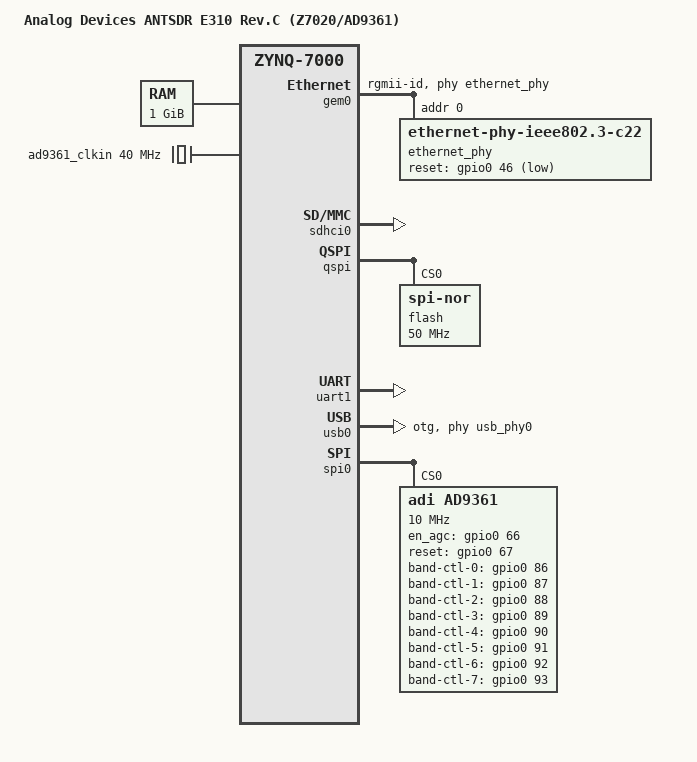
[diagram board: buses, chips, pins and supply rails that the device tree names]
// SPDX-License-Identifier: GPL-2.0
/*
 * Device Tree for the ANTSDR E310 (Analog Devices ANTSDR E310 clone)
 *
 *   Xilinx Zynq-7020 (XC7Z020, dual Cortex-A9, armhf) + AD9361 RF.
 *
 * WHICH TREE ACTUALLY RUNS.  Both E310s take their runtime DT from U-Boot's
 * control FDT in NOR (fdtcontroladdr), i.e. from
 * u-boot: arch/arm/dts/zynq-e310.dts -- NOT from this file.  A change here
 * reaches a board only via a NOR reflash of that FDT.  This file is still the
 * record and is what anyone building from the kernel tree gets, so the two are
 * kept reconciled property-for-property; the only deliberate divergence is
 * U-Boot's bootph-all tags (a pre-relocation/fdtgrep concern with no meaning in
 * Linux) and the two projects' differing copies of zynq-7000.dtsi.
 *
 * Board wiring mirrored from the confirmed-working mainline-U-Boot control
 * DT (u-boot: arch/arm/dts/zynq-e310.dts): 1 GB DDR, UART1 console, QSPI
 * (W25Q256), SD (broken-cd), and direct-MIO RGMII ethernet to a Marvell
 * 88E1510 PHY at MDIO addr 0 with its RESET_N on MIO46 (active-low).
 *
 * Kernel bindings/labels taken from arch/arm/boot/dts/xilinx/zynq-7000.dtsi
 * (gem0 @e000b000, sdhci0 @e0100000, qspi @e000d000, uart1 @e0001000,
 * spi0 @e0006000, gpio0 @e000a000).
 *
 * AD9361 RF path: this base DTB carries only the PL-INDEPENDENT half -- the
 * ad9361-phy SPI node (PS SPI0), its 40 MHz refclk, and fclk-enable.  The
 * PL-dependent AXI ADC/DDS/DMAC block (fpga-axi@0) is a runtime DT overlay
 * applied by the sdr demo service after it programs the PL from userspace
 * (see the note above the &clkc block at the end of this file).  Both halves
 * are ground-truthed from the STOCK ANTSDR E310 kernel FIT DTB (mtd3 fdt@1,
 * model "Analog Devices ANTSDR Rev.C (Z7020/AD9363)") so the AXI base
 * addresses / interrupts / DMA channels match the FPGA bitstream the board
 * loads.  Node STRUCTURE follows the ADI reference
 * arch/arm/boot/dts/xilinx/zynq-e310.dts; the compatible strings match the
 * in-tree ported drivers' match tables:
 *   ad9361.c            spi_device_id "ad9361"      <- "adi,ad9361"
 *   cf_axi_adc_core.c   "adi,axi-ad9361-6.00.a"    (overlay)
 *   cf_axi_dds.c        "adi,axi-ad9361-dds-6.00.a" (overlay)
 *   dma-axi-dmac.c      "adi,axi-dmac-1.00.a"      (overlay)
 */
/dts-v1/;
#include "zynq-7000.dtsi"
#include <dt-bindings/gpio/gpio.h>
#include <dt-bindings/interrupt-controller/irq.h>

/ {
	/*
	 * Rev.C board, XC7Z020 PS + AD9361 RF.  The stock ADI/ANTSDR string --
	 * still carried by U-Boot's control FDT until now -- says AD9363; these
	 * are MODIFIED boards carrying AD9361 silicon (2R2T), which is why the
	 * SPI node below binds "adi,ad9361".  Kept identical to U-Boot's
	 * arch/arm/dts/zynq-e310.dts, which is the string the live system
	 * reports (both boards take their runtime DT from the control FDT).
	 */
	model = "Analog Devices ANTSDR E310 Rev.C (Z7020/AD9361)";
	compatible = "adi,zynq-antsdr-e310", "xlnx,zynq-7000";

	aliases {
		serial0 = &uart1;
		ethernet0 = &gem0;
		spi0 = &qspi;
		mmc0 = &sdhci0;
	};

	memory@0 {
		device_type = "memory";
		/* 1 GB — matches the proven U-Boot DT (reg = <0x0 0x40000000>) */
		reg = <0x0 0x40000000>;
	};

	chosen {
		/*
		 * Absolute node path rather than the serial0: alias, matching
		 * U-Boot's control FDT byte-for-byte.  U-Boot NEEDS the absolute
		 * form (its fdtgrep-built SPL DTB may drop /aliases); Linux
		 * accepts both -- of_alias_scan() hands stdout-path to
		 * of_find_node_opts_by_path(), which resolves a leading '/' as a
		 * path and anything else as an alias.  The amba bus node is
		 * named "axi" in zynq-7000.dtsi.
		 */
		stdout-path = "/axi/serial@e0001000:115200n8";
	};

	/*
	 * AD9361 external reference clock (40 MHz TCXO on the ANTSDR E310).
	 * The stock DTB models this as an "adjustable-clock" (an ADI
	 * out-of-tree clock provider that is NOT ported here); the E310 refin
	 * is a fixed 40 MHz oscillator, so a mainline fixed-clock is the
	 * correct in-tree equivalent.  The ad9361 driver fetches it via
	 * devm_clk_get(dev, NULL) = clocks[0], so only the phandle order
	 * matters (name is informational).
	 */
	ad9361_clkin: ad9361-ext-refclk {
		compatible = "fixed-clock";
		#clock-cells = <0>;
		clock-frequency = <40000000>;
		clock-output-names = "ad9361_ext_refclk";
	};

	/*
	 * USB 2.0 OTG transceiver for usb0 (@e0002000).
	 *
	 * Zynq-7000 has NO on-chip USB PHY: the ChipIdea core talks to an
	 * off-chip high-speed transceiver over ULPI and is CLOCKED BY IT at
	 * 60 MHz (UG585).  On this board that transceiver is an SMSC USB3320,
	 * identified on silicon: a ULPI-viewport read over JTAG on one of our
	 * E310 boards returned vendor/product 0x0424:0x0007 (see the E310 §7.2
	 * transcript).
	 * `clocks = <&clkc 28>` in zynq-7000.dtsi is only the PS APER/AHB gate
	 * for the controller's register interface — the 60 MHz link clock comes
	 * in on the ULPI CLK pin and is not, and must not be, a DT clock.
	 *
	 * Linux binds this node through drivers/usb/phy/phy-generic.c, whose
	 * nop_xceiv_dt_ids matches "usb-nop-xceiv" and whose probe calls
	 * usb_add_phy_dev() to register a USB_PHY_TYPE_USB2 transceiver; the
	 * ChipIdea core then picks it up (ci_hdrc_probe(), drivers/usb/
	 * chipidea/core.c).  Every resource phy-generic touches (reset/vbus
	 * GPIOs, main_clk, vcc/vbus regulators) is optional, so the node probes
	 * as written.  CONFIG_NOP_USB_XCEIV=y in zynq_e310_defconfig.
	 *
	 * No phy-reset GPIO: the E310 schematic mapping for one is not
	 * confirmed, and inventing a MIO number would be worse than omitting
	 * it.  The same omission is in U-Boot's zynq-e310.dts and that FDT is
	 * PROVEN to bind on one of our E310 boards.
	 *
	 * NODE SHAPE -- kept identical to U-Boot's `phy0@e0002000` rather than
	 * the bare root-level `phy0` of zynq-zc702.dts / zynq-zed.dts.  An
	 * earlier revision of this file used the bare form on the theory that
	 * "a root-level node with a reg but no addressable parent is a dtc
	 * warning for no gain".  That is measurably wrong: the root carries
	 * #address-cells = <1> / #size-cells = <1> from zynq-7000.dtsi, so the
	 * reg is well-formed and its unit-address agrees with it -- dtc emits
	 * NO warning for this node in either tree (U-Boot's identical DTS
	 * compiles warning-clean).  Since the boards run U-Boot's control FDT,
	 * that node IS the live description, and the two trees have no reason
	 * to disagree about it.
	 *
	 * "ulpi-phy" is descriptive only -- it matches no driver in either
	 * project (zero hits under Linux drivers/; in U-Boot it appears only in
	 * the sibling ADI Zynq SDR board DTS files).  It is listed first,
	 * most-specific-first, to record the part.  "usb-nop-xceiv" is the
	 * entry that binds, in Linux via phy-generic.c and in U-Boot via
	 * drivers/phy/nop-phy.c.  reg/view-port/drv-vbus have no reader in
	 * either project either: ehci-zynq.c derives the ULPI viewport from its
	 * OWN reg + 0x170 and drives VBUS unconditionally.  They are retained
	 * for documentation and for byte-identity with the control FDT.
	 */
	usb_phy0: phy0@e0002000 {
		compatible = "ulpi-phy", "usb-nop-xceiv";
		#phy-cells = <0>;
		reg = <0xe0002000 0x1000>;
		view-port = <0x0170>;
		drv-vbus;
	};

	/*
	 * XC7Z020 die temperature, from the PS XADC (adc@f8007100).
	 *
	 * The sensor side already exists: xilinx-xadc-core.c registers a
	 * thermal-sensor provider (devm_thermal_of_zone_register), and
	 * zynq-7000.dtsi carries #thermal-sensor-cells = <0> on adc@f8007100.
	 * Only boards that declare a zone get one, and this board did not --
	 * so the die temperature was readable through IIO but invisible to the
	 * thermal framework. This node closes that.
	 *
	 * THIS IS A SHUTDOWN INTERLOCK, NOT A COOLING POLICY -- same shape and
	 * same reasoning as the sibling zone on zynq-adrv9009.dts. There is no
	 * fan and no fan controller on the ANTSDR E310, so there is no ACTIVE
	 * cooling device to bind at all. A PASSIVE trip would be possible in
	 * principle -- cpufreq is live here (333/667 MHz) and could be attached
	 * as a cooling device -- but Zynq-7000 has frequency scaling only, no
	 * voltage scaling, so throttling buys roughly linear power reduction at
	 * best and none is declared. The value here is the critical trip: an
	 * orderly emergency shutdown instead of running the die past its rated
	 * junction temperature.
	 *
	 * TRIP PROVENANCE -- read this before changing the number.
	 *   85000 = 85 degC = the maximum junction temperature of the
	 *   RECOMMENDED OPERATING RANGE for a COMMERCIAL (C) temperature-grade
	 *   part.
	 *
	 *   CONFIRMED AGAINST THE RIGHT DATA SHEET, 2026-07-29. Xilinx DS187
	 *   v1.21 (December 1, 2020), "Zynq-7000 SoC (Z-7007S, Z-7012S,
	 *   Z-7014S, Z-7010, Z-7015, and Z-7020) DC and AC Switching
	 *   Characteristics", Table 2 "Recommended Operating Conditions",
	 *   Temperature section, specifies Tj operating ranges of 0..85 degC
	 *   commercial (C), 0..100 degC extended (E), -40..100 degC industrial
	 *   (I) and -40..125 degC expanded (Q). Table 1 "Absolute Maximum
	 *   Ratings" gives Tj max +125 degC, but that is a stress rating, not
	 *   an operating limit, and is not what a trip should be set to.
	 *
	 *   So the VALUE is correct for this die and needs no change; only its
	 *   PROVENANCE was wrong. It was originally carried across from DS191
	 *   v1.17 Table 2 (Z-7030/7035/7045/7100) when the identical trip was
	 *   added to zynq-adrv9009.dts, and was labelled INFERRED here for that
	 *   reason. DS187 has now been read and agrees with DS191 exactly: the
	 *   commercial Tj ceiling is 85 degC on both families.
	 *
	 *   The fitted grade is still NOT software-readable. The temperature
	 *   range is the trailing letter of the ORDERING part number (DS190
	 *   v1.11.1 Figure 4, "Ordering Information": C / I / E), the IDCODE
	 *   identifies device and family only, and the eFuse/DNA has no Linux
	 *   driver. 85 degC therefore errs safe whichever grade is installed --
	 *   exactly at spec for commercial, 15 degC conservative for industrial
	 *   or extended (100 degC), 40 degC for expanded (125 degC).
	 *
	 * Measured envelope for context: 49.09 degC idle on one of our E310 boards
	 * via
	 * iio:device0 (2026-07-27), so the trip sits ~36 degC above the only
	 * state this board has been measured in. The critical trip is
	 * deliberately NOT exercised on silicon.
	 *
	 * BOARD SCOPE: the same zone is in U-Boot's control FDT, which is what
	 * both boards actually run (see the file header); this copy is the
	 * kernel-tree record and matches it property-for-property.
	 */
	thermal-zones {
		soc-thermal {
			polling-delay-passive = <1000>;
			polling-delay = <5000>;
			thermal-sensors = <&adc>;

			trips {
				soc_crit: soc-crit {
					temperature = <85000>;
					hysteresis = <2000>;
					type = "critical";
				};
			};
		};
	};
};

&gem0 {
	status = "okay";
	phy-mode = "rgmii-id";
	phy-handle = <&ethernet_phy>;

	/*
	 * GEM RGMII + MDIO are wired DIRECTLY on the PS MIO pins (muxed by
	 * ps7_init/FSBL) — no EMIO/gmii2rgmii shim. PHY is a Marvell 88E1510
	 * at MDIO address 0; MIO46 drives its active-low RESET_N.  The generic
	 * IEEE-c22 compatible auto-detects the 88E1510 by its MDIO ID (this is
	 * exactly what the working U-Boot DT does), so no marvell,* quirks are
	 * needed.
	 *
	 * PHY AS A DIRECT CHILD, not wrapped in an `mdio` subnode -- matching
	 * U-Boot's control FDT.  Both shapes are legal and both consumers
	 * accept both, so this was decided on the bindings' terms rather than
	 * forced into symmetry:
	 *
	 *   binding  Documentation/devicetree/bindings/net/cdns,macb.yaml names
	 *            `mdio` as OPTIONAL -- "Node containing PHY children. If
	 *            this node is not present, then PHYs will be direct
	 *            children" -- and carries an explicit
	 *            patternProperties "^ethernet-phy@[0-9a-f]$" for the direct
	 *            form, with reset-gpios allowed on it.
	 *   Linux    macb_mii_init() does of_get_child_by_name(np, "mdio") and,
	 *            when absent, macb_mdiobus_register() falls through to
	 *            of_mdiobus_register(bus, np) after finding a phy child.
	 *   U-Boot   zynq_gem.c resolves phy-handle and then walks UP past an
	 *            "mdio" parent if there is one (ofnode_name_eq(parent,
	 *            "mdio")), so it too handles either.
	 *
	 * The tie-break is dtc: the `mdio` wrapper leaves gem0 with
	 * #address-cells/#size-cells (from zynq-7000.dtsi) and no child holding
	 * a reg, which trips avoid_unnecessary_addr_size.  The direct child has
	 * reg = <0> and clears it.  The `mdio` node buys something only when
	 * NON-PHY devices share the bus, which is not this board.
	 */
	ethernet_phy: ethernet-phy@0 {
		reg = <0>;
		compatible = "ethernet-phy-ieee802.3-c22";
		reset-gpios = <&gpio0 46 GPIO_ACTIVE_LOW>;
	};
};

&sdhci0 {
	status = "okay";
	broken-cd;	/* SD card-detect line not wired — poll for a card */
	disable-wp;	/* no write-protect switch */
	no-1-8-v;	/* Zynq-7000 SDHCI is 3.3V-only (no UHS 1.8V signalling) */
};

&qspi {
	status = "okay";
	num-cs = <1>;
	is-dual = <0>;

	flash@0 {
		/* W25Q256 (32 MiB); jedec,spi-nor autodetects via JEDEC ID/SFDP. */
		compatible = "jedec,spi-nor";
		reg = <0x0>;
		spi-tx-bus-width = <1>;
		spi-rx-bus-width = <4>;
		spi-max-frequency = <50000000>;

		/*
		 * This part is > 16 MiB, so spi-nor enters 4-byte address mode
		 * with EN4B (0xB7) -- a VOLATILE latch the Zynq BootROM knows
		 * nothing about.  It issues 3-byte reads through the LQSPI
		 * window, so a board rebooted with the latch set cannot find
		 * its FSBL and loops with a silent console; only a physical
		 * power cycle clears it.  Without this property
		 * spi_nor_restore() is a no-op (it requires SNOR_F_BROKEN_RESET),
		 * so .shutdown/unbind never issues EX4B.  Does not cover a
		 * crash/panic/watchdog stop, which bypasses .shutdown entirely.
		 */
		broken-flash-reset;

		/*
		 * NO fixed-partitions node here, deliberately.
		 *
		 * The NOR layout is described in exactly ONE place: the DFU
		 * alternate-setting map built by U-Boot's
		 * board/xilinx/zynq/zynq-e310/board.c set_dfu_alt_info()
		 * (bootloader / config / spare, raw offsets). Every consumer
		 * uses raw offsets against that map:
		 *   - the SPL loads its payload from CONFIG_SYS_SPI_U_BOOT_OFFS
		 *     (0x40000) inside the combined blob binman writes to 0x0;
		 *   - flashing is raw `sf write`;
		 *   - the 64 KiB config sector at 0x1F0000 is read by
		 *     nor_env_import() (CONFIG_NOR_CONFIG_SECTOR).
		 * Nothing reads an MTD partition label.
		 *
		 * The four ADI-inherited labels that used to live here
		 * (qspi-fsbl-uboot / qspi-uboot-env / qspi-nvmfs / qspi-linux)
		 * described the *stock* ADI layout, which no longer exists
		 * after the 2026-07-26 restructure to the Libre Computer
		 * NOR-board shape. A second, contradictory description of the
		 * layout is a drift hazard, so it is gone rather than
		 * refreshed.
		 */
	};
};

&uart1 {
	status = "okay";
};

/*
 * USB 2.0 OTG — the single micro-USB OTG jack on the E310 front panel.
 *
 * Inherited status = "disabled" from zynq-7000.dtsi until now; that is why
 * neither a platform device nor a UDC existed on one of our E310 boards
 * (measured: no e0002000.usb under /sys/bus/platform/devices, empty
 * /sys/class/udc).
 *
 * dr_mode = "otg" — the jack is a true OTG receptacle and the role is picked
 * from the ID pin, so "otg" keeps BOTH host (A-cable / ID grounded) and gadget
 * (standard micro-B to a PC) reachable without another DTS respin.  This is the
 * same value U-Boot's zynq-e310.dts uses, and that FDT is MEASURED-GOOD on
 * one of our E310 boards: e0002000.usb bound to chipidea-usb2, e0002000.phy0
 * bound to usb_phy_generic, /sys/class/udc/ci_hdrc.0 present.
 * CONFIG_USB_CHIPIDEA{,
 * _HOST,_UDC}=y in zynq_e310_defconfig, so both roles are built in.
 *
 * usb1 (@e0003000) is deliberately LEFT DISABLED: there is only one USB jack on
 * this board, and the second controller's ULPI pins go nowhere.  Enabling it
 * would create a controller with no transceiver — and since the Zynq USB core
 * is clocked BY the ULPI PHY, a controller with no PHY does not merely idle,
 * it has no clock.  (An earlier revision of the E310 gap list said to enable
 * "both" nodes; that is wrong for this board.)
 *
 * BOARD SCOPE: U-Boot's control FDT carries the equivalent nodes (u-boot
 * 428e1b4b440) and is what both boards actually run; this copy is the
 * kernel-tree record and matches it property-for-property.
 */
&usb0 {
	status = "okay";
	dr_mode = "otg";
	usb-phy = <&usb_phy0>;
};

/*
 * AD9361 RF transceiver SPI control interface (PS SPI0 @e0006000).
 *
 * ad9361-phy node replicated from the stock ANTSDR E310 FIT DTB so the
 * device config (2rx-2tx mode, band-control GPIO map, gain/AGC tables)
 * matches the fielded hardware.  The AD936x driver binds by SPI modalias:
 * "adi,ad9361" -> strip vendor prefix -> "ad9361" -> ad9361_id[] (ID_AD9361).
 * (ad9361.c has NO of_match_table; the SPI core's compatible-minus-vendor
 * fallback is the whole binding path, so the compatible string alone picks
 * the variant.)
 *
 * ── WHY "adi,ad9361" AND NOT "adi,ad9364" ────────────────────────────────────
 * These boards carry AD9361 silicon (2R2T), not the AD9364 (1R1T) the stock
 * ADI DTB names.  The part is NOT software-identifiable: REG_PRODUCT_ID reads
 * the same 0x0A on every AD936x member (ad9361_register_axi_converter() only
 * checks it equals PRODUCT_ID_9361), so the DT compatible is the ONLY variant
 * selector.  It is load-bearing in three places:
 *
 *   ad9361.c:~9585   ID_AD9364 FORCES pdata->rx2tx2 = false and pins
 *                    rx1tx1_mode_use_{rx,tx}_num = 1 -- overriding the
 *                    adi,2rx-2tx-mode-enable property below, which is parsed
 *                    into rx2tx2 earlier (ad9361_of_get_bool, ~8694) and then
 *                    thrown away.  That property has therefore been INERT on
 *                    this board for as long as the compatible said ad9364.
 *   ad9361_conv.c    chip_info = rx2tx2 ? ID_AD9361 : ID_AD9364, i.e.
 *                    num_channels 4 (RX1 I/Q + RX2 I/Q) vs 2, and the
 *                    ad9361_available_scan_masks table vs none.
 *   ad9361_conv.c    ad9361_post_setup() clears ADI_R1_MODE in the PL core's
 *                    ADI_REG_CNTRL and bit 5 of the 0x4048 interface register,
 *                    and doubles the CMOS interface RATE (0x404c).
 *
 * THE PL FABRIC ALREADY SUPPORTS IT -- measured on one of our E310 boards
 * BEFORE this change, through iio:device2/direct_reg_access with the PCORE
 * window bit
 * (0x80000000) OR'd into the address:
 *
 *   CONFIG   (0x000C) = 0x80    -> bit 7 CMOS_OR_LVDS_N set (CMOS), and
 *                                 bit 4 ADI_MODE_1R1T CLEAR.  That bit is a
 *                                 SYNTHESIS-time flag of the axi_ad9361 core,
 *                                 so the bitstream is built 2R2T.
 *   CHAN_CNTRL(0..3)            -> decode (0x251, 0x251, 0x0, 0x0)
 *   CHAN_CNTRL(4..7)            -> 0xDEADDEAD, the up_axi unmapped-address
 *                                 pattern.  Exactly 4 ADC channels exist =
 *                                 2 RX chains x I/Q.
 *   CNTRL    (0x0044) = 0x4     -> ADI_R1_MODE, a RUNTIME bit the driver had
 *                                 set purely because of the ad9364 compatible.
 *
 * COST: the AD936x per-chain sample-rate ceiling halves in 2R2T mode
 * (ad9361.c ~8062: 61.44 MHz / 2 = 30.72 MHz).  The
 * adi,rx-path-clock-frequencies below already end at 30720000, so nothing here
 * needs to change and no reachable configuration is lost -- 2R2T is strictly
 * additive for this board's clock plan.
 */
&spi0 {
	status = "okay";
	#address-cells = <1>;
	#size-cells = <0>;

	ad9361: ad9361-phy@0 {
		/*
		 * No #address-cells/#size-cells here: the eight children
		 * (ad9361_{rx,tx}_ant_port_{a,b}, adi_{rx,tx}_band_setting_{0,1})
		 * carry no reg and are reached only by phandle, and this node has
		 * no ranges/dma-ranges, so of_n_addr_cells() never consults them.
		 * Carrying them anyway trips dtc's avoid_unnecessary_addr_size.
		 * #clock-cells IS load-bearing -- the AD9361 is a clock provider
		 * (rx_sampl_clk / tx_sampl_clk).
		 */
		#clock-cells = <1>;
		compatible = "adi,ad9361";

		/* SPI Setup */
		reg = <0>;
		spi-cpha;
		spi-max-frequency = <10000000>;

		/* Clocks */
		clocks = <&ad9361_clkin>;
		/* Informational only -- ad9361.c fetches this with
		 * devm_clk_get(&spi->dev, NULL), i.e. clocks[0] by index. */
		clock-names = "ad9361_ext_refclk";
		clock-output-names = "rx_sampl_clk", "tx_sampl_clk";

		/* Digital Interface Control */
		adi,pp-tx-swap-enable;
		adi,pp-rx-swap-enable;
		adi,rx-frame-pulse-mode-enable;
		adi,xo-disable-use-ext-refclk-enable;
		adi,full-port-enable;
		adi,digital-interface-tune-fir-disable;
		adi,digital-interface-tune-skip-mode = <0>;
		adi,tx-fb-clock-delay = <0>;
		adi,tx-data-delay = <9>;
		adi,swap-ports-enable;

		/* ENSM Mode */
		adi,frequency-division-duplex-mode-enable;

		adi,rx-rf-port-input-select = <0>;
		adi,rx-rf-port-input-select-lock-enable;
		adi,tx-rf-port-input-select = <0>;
		adi,tx-rf-port-input-select-lock-enable;
		adi,tx-attenuation-mdB = <10000>;
		adi,tx-lo-powerdown-managed-enable;

		adi,rf-rx-bandwidth-hz = <18000000>;
		adi,rf-tx-bandwidth-hz = <18000000>;
		adi,rx-synthesizer-frequency-hz = /bits/ 64 <2400000000>;
		adi,tx-synthesizer-frequency-hz = /bits/ 64 <2450000000>;

		/*				BBPLL     ADC        R2CLK     R1CLK    CLKRF    RSAMPL  */
		adi,rx-path-clock-frequencies = <983040000 245760000 122880000 61440000 30720000 30720000>;
		/*				BBPLL     DAC        T2CLK     T1CLK    CLKTF    TSAMPL  */
		adi,tx-path-clock-frequencies = <983040000 122880000 122880000 61440000 30720000 30720000>;

		/* Gain Control */
		adi,gc-rx1-mode = <2>;
		adi,gc-rx2-mode = <2>;
		adi,gc-adc-ovr-sample-size = <4>;
		adi,gc-adc-small-overload-thresh = <47>;
		adi,gc-adc-large-overload-thresh = <58>;
		adi,gc-lmt-overload-high-thresh = <800>;
		adi,gc-lmt-overload-low-thresh = <704>;
		adi,gc-dec-pow-measurement-duration = <8192>;
		adi,gc-low-power-thresh = <24>;

		/* Manual Gain Control Setup */
		adi,mgc-inc-gain-step = <2>;
		adi,mgc-dec-gain-step = <2>;
		adi,mgc-split-table-ctrl-inp-gain-mode = <0>;

		/* Automatic Gain Control Setup */
		adi,agc-attack-delay-extra-margin-us = <1>;
		adi,agc-outer-thresh-high = <5>;
		adi,agc-outer-thresh-high-dec-steps = <2>;
		adi,agc-inner-thresh-high = <10>;
		adi,agc-inner-thresh-high-dec-steps = <1>;
		adi,agc-inner-thresh-low = <12>;
		adi,agc-inner-thresh-low-inc-steps = <1>;
		adi,agc-outer-thresh-low = <18>;
		adi,agc-outer-thresh-low-inc-steps = <2>;
		adi,agc-adc-small-overload-exceed-counter = <10>;
		adi,agc-adc-large-overload-exceed-counter = <10>;
		adi,agc-adc-large-overload-inc-steps = <2>;
		adi,agc-lmt-overload-large-exceed-counter = <10>;
		adi,agc-lmt-overload-small-exceed-counter = <10>;
		adi,agc-lmt-overload-large-inc-steps = <2>;
		adi,agc-gain-update-interval-us = <1000>;

		/* Fast AGC */
		adi,fagc-dec-pow-measurement-duration = <64>;
		adi,fagc-lp-thresh-increment-steps = <1>;
		adi,fagc-lp-thresh-increment-time = <5>;
		adi,fagc-energy-lost-stronger-sig-gain-lock-exit-cnt = <8>;
		adi,fagc-final-overrange-count = <3>;
		adi,fagc-gain-index-type-after-exit-rx-mode = <0>;
		adi,fagc-lmt-final-settling-steps = <1>;
		adi,fagc-lock-level = <10>;
		adi,fagc-lock-level-gain-increase-upper-limit = <5>;
		adi,fagc-lock-level-lmt-gain-increase-enable;
		adi,fagc-lpf-final-settling-steps = <1>;
		adi,fagc-optimized-gain-offset = <5>;
		adi,fagc-power-measurement-duration-in-state5 = <64>;
		adi,fagc-rst-gla-engergy-lost-goto-optim-gain-enable;
		adi,fagc-rst-gla-engergy-lost-sig-thresh-below-ll = <10>;
		adi,fagc-rst-gla-engergy-lost-sig-thresh-exceeded-enable;
		adi,fagc-rst-gla-if-en-agc-pulled-high-mode = <0>;
		adi,fagc-rst-gla-large-adc-overload-enable;
		adi,fagc-rst-gla-large-lmt-overload-enable;
		adi,fagc-rst-gla-stronger-sig-thresh-above-ll = <10>;
		adi,fagc-rst-gla-stronger-sig-thresh-exceeded-enable;
		adi,fagc-state-wait-time-ns = <260>;
		adi,fagc-use-last-lock-level-for-set-gain-enable;

		/* RSSI */
		adi,rssi-restart-mode = <3>;
		adi,rssi-delay = <1>;
		adi,rssi-wait = <1>;
		adi,rssi-duration = <1000>;

		/* Control Outputs */
		adi,ctrl-outs-index = <0>;
		adi,ctrl-outs-enable-mask = <0xFF>;

		/* AuxADC Temp Sense Control */
		adi,temp-sense-measurement-interval-ms = <1000>;
		adi,temp-sense-offset-signed = <0xCE>;
		adi,temp-sense-periodic-measurement-enable;

		/* AuxDAC Control */
		adi,aux-dac-manual-mode-enable;
		adi,aux-dac1-default-value-mV = <0>;
		adi,aux-dac1-rx-delay-us = <0>;
		adi,aux-dac1-tx-delay-us = <0>;
		adi,aux-dac2-default-value-mV = <0>;
		adi,aux-dac2-rx-delay-us = <0>;
		adi,aux-dac2-tx-delay-us = <0>;

		/* Control GPIOs (ANTSDR E310 map, from stock DTB) */
		en_agc-gpios = <&gpio0 66 GPIO_ACTIVE_HIGH>;
		reset-gpios = <&gpio0 67 GPIO_ACTIVE_HIGH>;

		/* External band-control GPIOs (stock ANTSDR map) */
		adi,band-ctl-0-gpio = <&gpio0 86 GPIO_ACTIVE_HIGH>;
		adi,band-ctl-1-gpio = <&gpio0 87 GPIO_ACTIVE_HIGH>;
		adi,band-ctl-2-gpio = <&gpio0 88 GPIO_ACTIVE_HIGH>;
		adi,band-ctl-3-gpio = <&gpio0 89 GPIO_ACTIVE_HIGH>;
		adi,band-ctl-4-gpio = <&gpio0 90 GPIO_ACTIVE_HIGH>;
		adi,band-ctl-5-gpio = <&gpio0 91 GPIO_ACTIVE_HIGH>;
		adi,band-ctl-6-gpio = <&gpio0 92 GPIO_ACTIVE_HIGH>;
		adi,band-ctl-7-gpio = <&gpio0 93 GPIO_ACTIVE_HIGH>;

		/* Mode Setup */
		adi,2rx-2tx-mode-enable;

		ad9361_rx_ant_port_a: ad9361_rx_ant_port_a {
			adi,rx-rf-port-input-select = <0>;
		};

		ad9361_rx_ant_port_b: ad9361_rx_ant_port_b {
			adi,rx-rf-port-input-select = <1>;
		};

		ad9361_tx_ant_port_a: ad9361_tx_ant_port_a {
			adi,tx-rf-port-input-select = <0>;
		};

		ad9361_tx_ant_port_b: ad9361_tx_ant_port_b {
			adi,tx-rf-port-input-select = <1>;
		};

		/*
		 * ── EXTERNAL BAND CONTROL ────────────────────────────────────
		 *
		 * Consumed by ad9361_ext_band_ctrl.c (built when
		 * CONFIG_AD9361_EXT_BAND_CONTROL is set; enabled for this board
		 * by 830e41c50).  ad9361.c calls
		 * ad9361_adjust_{rx,tx}_ext_band_settings() on every LO change,
		 * which picks the child whose [lo-freq-min, lo-freq-max) contains
		 * the new LO and applies it.
		 *
		 * HOW adi,gpio-settings IS ENCODED -- read off the driver, not
		 * off a harness's 8-bit GPIO word:
		 *
		 *   ad9361_populate_objs() takes devm_gpiod_get(dev,
		 *   "adi,band-ctl-N", 0) for N = 0,1,... until -ENOENT, so
		 *   ngpios = 8 and array index N is exactly the
		 *   adi,band-ctl-N-gpio = <&gpio0 (86+N)> above.
		 *
		 *   ad9361_parse_gpio_settings() reads the property as a u32
		 *   array of EXACTLY ngpios entries -- a short list is -EINVAL --
		 *   index-aligned to N.
		 *
		 *   Each entry is an OPCODE from
		 *   include/dt-bindings/iio/adc/adi,ad9361.h: 0 = OP_LOW,
		 *   1 = OP_HIGH, 2 = OP_INPUT, 3 = OP_NOP.  It is NOT a bitmask.
		 *
		 *   ad9361_apply_gpio_settings() drives them with
		 *   gpiod_direction_output_raw(), i.e. RAW: the GPIO_ACTIVE_HIGH
		 *   flag on the adi,band-ctl-N-gpio phandles above is BYPASSED,
		 *   so opcode 1 is a physical high on the ball.
		 *
		 * BALL MAP for gpio0 86..93 (PL ps_gpio_o[39:32]):
		 *   idx 0 VCRX1_H  idx 1 VCRX1_L  idx 2 VCTX1_H  idx 3 VCTX1_L
		 *   idx 4 VCRX2_H  idx 5 VCRX2_L  idx 6 VCTX2_H  idx 7 VCTX2_L
		 *
		 * WHICH WAY ROUND -- MEASURED, and the reason these four nodes no
		 * longer match the stock ADI/ANTSDR DTB.  The stock data had
		 * adi_rx_band_setting_0 (0-3 GHz, the band that CONTAINS 2.4 GHz)
		 * as <0 1 3 3 0 1 3 3>, i.e. _H = LOW / _L = HIGH -- pattern
		 * 0x22, which is the 3-6 GHz path.  Receive-only on both E310s,
		 * 2400-2484 MHz, 3 passes, both attenuators floored and the TX LO
		 * down, with the released 0x00 state taken first AND last as a
 * drift control (tests/e310-rx-band-isolation.sh; an internal band-control
 * incident record), whole-band
		 * mean dBFS vs released:
		 *
		 *   0x11  _H=1/_L=0  (low path)  +7.01/+6.89 alpha  +6.13/+6.48 beta
		 *   0x22  _H=0/_L=1  (high path) -3.08/-3.76 alpha  -3.23/-3.18 beta
		 *
		 * So the stock 0-3 GHz setting was not merely suboptimal, it was
		 * the worst of the four states measured -- ~3 dB below doing
		 * nothing and ~10 dB below the correct path.  The two settings
		 * are simply swapped for this board's front end, on RX and TX
		 * alike.  Drift between the two 0x00 controls was 0.02-1.23 dB,
		 * far below the effect.
		 *
		 * adi,band-ctl-post IS SWAPPED WITH THEM, and deliberately.  The
		 * post hook selects the AD9361 RF port, and
		 * ad9361_apply_rx_port_settings() calls ad9361_set_rx_port()
		 * DIRECTLY (ad9361.c:3164).  The
		 * adi,rx-rf-port-input-select-lock-enable guard above lives only
		 * in ad9361_set_rf_port() (ad9361.c:7701), the sysfs path, so it
		 * does NOT stop the band controller.  The stock data would move
		 * 0-3 GHz onto RF port B, which is not the configuration any
		 * measurement on this board was taken in -- every one was on port
		 * A, this node's adi,{rx,tx}-rf-port-input-select = <0>.  Pointing
		 * the 0-3 GHz settings at port A keeps the proven pairing (low
		 * path + port A) and leaves the untested port-B combination out
		 * of the demo band.
		 *
		 * The runtime overlay demos/sdr-demo/platforms/antsdr-e310/fpga/
		 * e310-n27-gpio.dts (deployed as e310-pl-gpio.dtbo) carries the
		 * same correction.  It is now REDUNDANCY, not the sole copy:
		 * anything that binds ad9361 against this base tree without that
		 * overlay -- a kernel built straight from this tree, a different
		 * bitstream flow -- gets the right path.
		 */

		/* Receive Side */
		adi_rx_band_setting_0 {
			adi,lo-freq-min = /bits/ 64 <0>;
			adi,lo-freq-max = /bits/ 64 <3000000000>;
			/* 0-3 GHz: _H = 1, _L = 0 (the low path) + RF port A */
			adi,gpio-settings = <1 0 3 3 1 0 3 3>;
			adi,band-ctl-post = <&ad9361_rx_ant_port_a 0>;
		};

		adi_rx_band_setting_1 {
			adi,lo-freq-min = /bits/ 64 <3000000000>;
			adi,lo-freq-max = /bits/ 64 <6000000000>;
			/* 3-6 GHz: the complement */
			adi,gpio-settings = <0 1 3 3 0 1 3 3>;
			adi,band-ctl-post = <&ad9361_rx_ant_port_b 0>;
		};

		/* Transmit Side */
		adi_tx_band_setting_0 {
			adi,lo-freq-min = /bits/ 64 <0>;
			adi,lo-freq-max = /bits/ 64 <3000000000>;
			adi,gpio-settings = <3 3 1 0 3 3 1 0>;
			adi,band-ctl-post = <&ad9361_tx_ant_port_a 0>;
		};

		adi_tx_band_setting_1 {
			adi,lo-freq-min = /bits/ 64 <3000000000>;
			adi,lo-freq-max = /bits/ 64 <6000000000>;
			adi,gpio-settings = <3 3 0 1 3 3 0 1>;
			adi,band-ctl-post = <&ad9361_tx_ant_port_b 0>;
		};
	};
};

&clkc {
	/* Pin all PL fabric clocks on (matches the stock ANTSDR fdt@1). Without this
	 * the board inherits fclk-enable=<0> from zynq-7000.dtsi and clk_disable_unused
	 * gates off FCLK0 -- which clocks the cf_axi cores' s_axi_aclk -- so the first
	 * cf_axi_adc register read hard-hangs the AXI bus. */
	fclk-enable = <0xf>;
};

/*
 * On-chip memory -- describe all 256 KB, not the 64 KB zynq-7000.dtsi assumes.
 *
 * The dtsi's ocm node is written for the OCM_CFG reset default, where only one
 * 64 KB bank sits high and the other three are at 0x00000000 under the DDR
 * alias.  U-Boot's arch/arm/mach-zynq/cpu.c writes 0x1F to SLCR OCM_CFG
 * (0xF8000910) -- "Mask out the ROM, map ram into upper addresses" -- so on
 * every board that boots this U-Boot all four banks are contiguous at
 * 0xFFFC0000-0xFFFFFFFF.  Read back from silicon on one of our E310 boards:
 * OCM_CFG = 0x0000001F.  The three banks above the first were therefore
 * mapped, writable
 * and described by nothing.
 *
 * Bank 0 (0xFFFC0000 + 0x10000) stays a bare reserved child -- exactly as the
 * dtsi had it, so this change cannot regress it.  It holds the ARM exception
 * vector table the FSBL/U-Boot left behind (first words EA00000F E59FF014
 * E59FF014 E59FF014, read on one of our E310 boards).  Nothing branches there
 * once Linux
 * is up -- mach-zynq/platsmp.c stages the CPU1 trampoline at physical 0, i.e.
 * DDR, not OCM -- but the BootROM reloads the FSBL into this bank on every PS
 * reset, so leaving it out of the allocator costs 64 KB and buys certainty.
 *
 * Banks 1-3 (0xFFFD0000 + 0x30000) are handed out two ways at once:
 *   pool    -- a named genalloc pool an in-kernel client takes with
 *              of_gen_pool_get(np, "sram", 0); this is the 802.11 lower-MAC
 *              path, where NAV/CW/CCA state wants single-cycle-class SRAM
 *              rather than a DDR line whose latency varies with refresh and
 *              PL AXI_HP traffic.
 *   export  -- a 0600 sysfs binary attribute
 *              (fffc0000.sram/fffd0000.sram) so userspace reaches the same
 *              192 KB without /dev/mem and without CONFIG_STRICT_DEVMEM
 *              carve-outs.
 * Both are legal on one child: drivers/misc/sram.c sram_add_partition() tests
 * block->pool and block->export independently.
 */
&ocm {
	reg = <0xfffc0000 0x40000>;
	ranges = <0 0xfffc0000 0x40000>;

	ocm-lomac@10000 {
		reg = <0x10000 0x30000>;
		label = "ocm-lomac";
		pool;
		export;
	};
};

/*
 * FPGA (PL) AXI IP region -- deliberately NOT in this base DTB.
 *
 * The AXI ADC/DDS/DMAC block (fpga-axi@0) only exists once the PL is
 * programmed with the SDR bitstream, so it lives in a runtime DT overlay
 * that the sdr demo service applies AFTER loading the bitstream through
 * the FPGA manager from userspace:
 *
 *   demos/sdr-demo/platforms/antsdr-e310/fpga/e310-sdr-axi.dts
 *   (claude repo) -> /lib/firmware/e310-sdr-axi.dtbo on the board,
 *   applied via configfs by /usr/local/bin/e310-fpga-up.
 *
 * Keeping it out of the base means the board boots identically with an
 * unprogrammed PL (no cf_axi register access against dark fabric), and
 * the PL lifecycle has exactly one owner (the sdr service) instead of
 * being split between u-boot's `fpga load` and this DTB.
 *
 * This DTB is built with symbols (__symbols__ present) so the overlay's
 * &amba / &ad9361 / &clkc phandle references resolve at apply time.
 */
